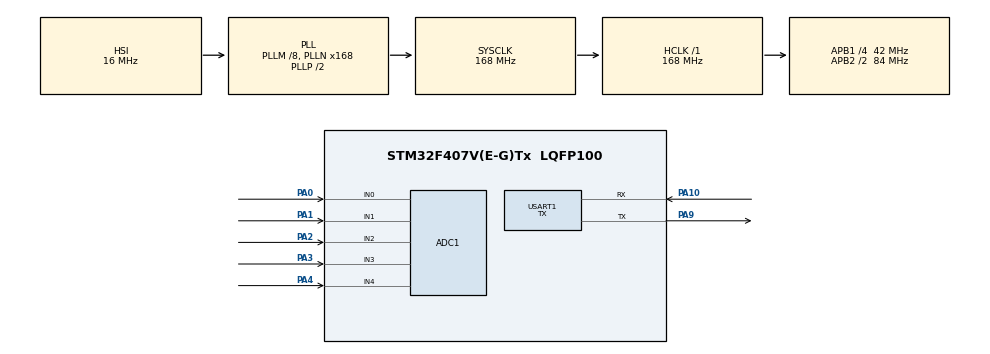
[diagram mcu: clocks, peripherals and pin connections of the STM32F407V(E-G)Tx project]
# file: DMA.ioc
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ADC1.Channel-0\#ChannelRegularConversion=ADC_CHANNEL_0
ADC1.Channel-1\#ChannelRegularConversion=ADC_CHANNEL_1
ADC1.Channel-2\#ChannelRegularConversion=ADC_CHANNEL_2
ADC1.Channel-3\#ChannelRegularConversion=ADC_CHANNEL_3
ADC1.Channel-4\#ChannelRegularConversion=ADC_CHANNEL_4
ADC1.ContinuousConvMode=ENABLE
ADC1.DMAContinuousRequests=ENABLE
ADC1.NbrOfConversion=5
ADC1.NbrOfConversionFlag=1
ADC1.Rank-0\#ChannelRegularConversion=1
ADC1.Rank-1\#ChannelRegularConversion=2
ADC1.Rank-2\#ChannelRegularConversion=3
ADC1.Rank-3\#ChannelRegularConversion=4
ADC1.Rank-4\#ChannelRegularConversion=5
ADC1.SamplingTime-0\#ChannelRegularConversion=ADC_SAMPLETIME_3CYCLES
ADC1.SamplingTime-1\#ChannelRegularConversion=ADC_SAMPLETIME_3CYCLES
ADC1.SamplingTime-2\#ChannelRegularConversion=ADC_SAMPLETIME_3CYCLES
ADC1.SamplingTime-3\#ChannelRegularConversion=ADC_SAMPLETIME_3CYCLES
ADC1.SamplingTime-4\#ChannelRegularConversion=ADC_SAMPLETIME_3CYCLES
ADC1.ScanConvMode=ENABLE
ADC1.master=1
Dma.ADC1.0.Direction=DMA_PERIPH_TO_MEMORY
Dma.ADC1.0.FIFOMode=DMA_FIFOMODE_DISABLE
Dma.ADC1.0.Instance=DMA2_Stream0
Dma.ADC1.0.MemDataAlignment=DMA_MDATAALIGN_HALFWORD
Dma.ADC1.0.MemInc=DMA_MINC_ENABLE
Dma.ADC1.0.Mode=DMA_CIRCULAR
Dma.ADC1.0.PeriphDataAlignment=DMA_PDATAALIGN_HALFWORD
Dma.ADC1.0.PeriphInc=DMA_PINC_DISABLE
Dma.ADC1.0.Priority=DMA_PRIORITY_VERY_HIGH
Dma.Request0=ADC1
Mcu.Family=STM32F4
Mcu.Name=STM32F407V(E-G)Tx
Mcu.Package=LQFP100
NVIC.DMA2_Stream0_IRQn=true\:0\:0\:false\:false\:true\:false\:true\:true
NVIC.PriorityGroup=NVIC_PRIORITYGROUP_0
NVIC.TIM2_IRQn=true\:0\:0\:false\:false\:true\:true\:true\:true
PA0-WKUP.Signal=ADCx_IN0
PA1.Signal=ADCx_IN1
PA10.Mode=Asynchronous
PA10.Signal=USART1_RX
PA2.Signal=ADCx_IN2
PA3.Signal=ADCx_IN3
PA4.Signal=ADCx_IN4
PA9.Mode=Asynchronous
PA9.Signal=USART1_TX
PH0-OSC_IN.Mode=HSE-External-Oscillator
PH0-OSC_IN.Signal=RCC_OSC_IN
PH1-OSC_OUT.Mode=HSE-External-Oscillator
PH1-OSC_OUT.Signal=RCC_OSC_OUT
ProjectManager.HeapSize=0x200
ProjectManager.StackSize=0x400
ProjectManager.TargetToolchain=STM32CubeIDE
RCC.48MHZClocksFreq_Value=48000000
RCC.AHBFreq_Value=168000000
RCC.APB1CLKDivider=RCC_HCLK_DIV4
RCC.APB1Freq_Value=42000000
RCC.APB1TimFreq_Value=84000000
RCC.APB2CLKDivider=RCC_HCLK_DIV2
RCC.APB2Freq_Value=84000000
RCC.APB2TimFreq_Value=168000000
RCC.CortexFreq_Value=168000000
RCC.HCLKFreq_Value=168000000
RCC.HSE_VALUE=8000000
RCC.HSI_VALUE=16000000
RCC.LSE_VALUE=32768
RCC.PLLM=8
RCC.PLLN=168
RCC.PLLQ=7
RCC.SYSCLKFreq_VALUE=168000000
RCC.SYSCLKSource=RCC_SYSCLKSOURCE_PLLCLK
RCC.VCOOutputFreq_Value=336000000
SH.ADCx_IN0.0=ADC1_IN0,IN0
SH.ADCx_IN1.0=ADC1_IN1,IN1
SH.ADCx_IN2.0=ADC1_IN2,IN2
SH.ADCx_IN3.0=ADC1_IN3,IN3
SH.ADCx_IN4.0=ADC1_IN4,IN4
TIM2.Period=399
TIM2.Prescaler=41999
USART1.Mode=MODE_TX
USART1.VirtualMode=VM_ASYNC
VP_TIM2_VS_ClockSourceINT.Mode=Internal
board=STM32F407G-DISC1

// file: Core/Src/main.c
/* USER CODE BEGIN Header */
/**
  ******************************************************************************
  * @file           : main.c
  * @brief          : Main program body
  ******************************************************************************
  * @attention
  *
  * Copyright (c) 2023 STMicroelectronics.
  * All rights reserved.
  *
  * This software is licensed under terms that can be found in the LICENSE file
  * in the root directory of this software component.
  * If no LICENSE file comes with this software, it is provided AS-IS.
  *
  ******************************************************************************
  */
/* USER CODE END Header */
#include "main.h"

/* USER CODE BEGIN Includes */
#include "string.h"
#include <stdio.h>

// DMA Buffer Size
#define BUFFER_SIZE 		100

/* USER CODE END Includes */

ADC_HandleTypeDef hadc1;
DMA_HandleTypeDef hdma_adc1;

TIM_HandleTypeDef htim2;

UART_HandleTypeDef huart1;

/* USER CODE BEGIN PV */

// Global variables
uint16_t adc_values[BUFFER_SIZE];

char tx_buff[50];
uint16_t buffer_index = 0;

uint16_t buffer2[BUFFER_SIZE];

uint8_t adc_flag = 0;

uint8_t timer_interrupt_flag = 0;

/* USER CODE END PV */

void SystemClock_Config(void);
 void MX_GPIO_Init(void);
 void MX_DMA_Init(void);
 void MX_ADC1_Init(void);
 void MX_TIM2_Init(void);
 void MX_USART1_UART_Init(void);

/* USER CODE BEGIN 0 */
void HAL_TIM_PeriodElapsedCallback(TIM_HandleTypeDef *htim)
{

	if (htim == &htim2)
	  {

	    timer_interrupt_flag = 1;
	  }

}

void HAL_ADC_ConvCpltCallback(ADC_HandleTypeDef *hadc)
{
  if (hadc == &hadc1) // ADC1'nin dönüşümü tamamlandı
  {

	  adc_flag = 1;

  }
}

/* USER CODE END 0 */

int main(void)
{

  /* MCU Configuration--------------------------------------------------------*/

  /* Reset of all peripherals, Initializes the Flash interface and the Systick. */
  HAL_Init();

  /* Configure the system clock */
  SystemClock_Config();

  /* Initialize all configured peripherals */
  MX_GPIO_Init();
  MX_DMA_Init();
  MX_ADC1_Init();
  MX_TIM2_Init();
  MX_USART1_UART_Init();
  /* USER CODE BEGIN 2 */

  HAL_ADC_Start_DMA(&hadc1, (uint32_t*)adc_values, 5);

  HAL_TIM_Base_Start_IT(&htim2);

  /* USER CODE END 2 */

  /* Infinite loop */
  while (1)
  {

    /* USER CODE BEGIN 3 */

	  if (timer_interrupt_flag)
	   	 {
	   	    timer_interrupt_flag = 0;

	   	    for (int i = 0; i < BUFFER_SIZE; i++)
	   	     {
	   	       uint16_t adc_value = buffer2[i];
	   	       size_t size = sprintf(tx_buff, "ADC:%u\n", adc_value);
	   	       HAL_UART_Transmit(&huart1, (uint8_t *)tx_buff, size, 100);
	   	    }
	       }

	  	 if (adc_flag)
	   	 {
	   	    adc_flag = 0;

	   	    for (int i = 0; i < BUFFER_SIZE; i++)
	   	      {
	   	          buffer2[i] = adc_values[i];
	   	      }
	       }

  /* USER CODE END 3 */
 }

}

void SystemClock_Config(void)
{
  RCC_OscInitTypeDef RCC_OscInitStruct = {0};
  RCC_ClkInitTypeDef RCC_ClkInitStruct = {0};

  /** Configure the main internal regulator output voltage
  */
  __HAL_RCC_PWR_CLK_ENABLE();
  __HAL_PWR_VOLTAGESCALING_CONFIG(PWR_REGULATOR_VOLTAGE_SCALE1);

  /** Initializes the RCC Oscillators according to the specified parameters
  * in the RCC_OscInitTypeDef structure.
  */
  RCC_OscInitStruct.OscillatorType = RCC_OSCILLATORTYPE_HSI;
  RCC_OscInitStruct.HSIState = RCC_HSI_ON;
  RCC_OscInitStruct.HSICalibrationValue = RCC_HSICALIBRATION_DEFAULT;
  RCC_OscInitStruct.PLL.PLLState = RCC_PLL_ON;
  RCC_OscInitStruct.PLL.PLLSource = RCC_PLLSOURCE_HSI;
  RCC_OscInitStruct.PLL.PLLM = 8;
  RCC_OscInitStruct.PLL.PLLN = 168;
  RCC_OscInitStruct.PLL.PLLP = RCC_PLLP_DIV2;
  RCC_OscInitStruct.PLL.PLLQ = 7;
  if (HAL_RCC_OscConfig(&RCC_OscInitStruct) != HAL_OK)
  {
    Error_Handler();
  }

  /** Initializes the CPU, AHB and APB buses clocks
  */
  RCC_ClkInitStruct.ClockType = RCC_CLOCKTYPE_HCLK|RCC_CLOCKTYPE_SYSCLK
                              |RCC_CLOCKTYPE_PCLK1|RCC_CLOCKTYPE_PCLK2;
  RCC_ClkInitStruct.SYSCLKSource = RCC_SYSCLKSOURCE_PLLCLK;
  RCC_ClkInitStruct.AHBCLKDivider = RCC_SYSCLK_DIV1;
  RCC_ClkInitStruct.APB1CLKDivider = RCC_HCLK_DIV4;
  RCC_ClkInitStruct.APB2CLKDivider = RCC_HCLK_DIV2;

  if (HAL_RCC_ClockConfig(&RCC_ClkInitStruct, FLASH_LATENCY_5) != HAL_OK)
  {
    Error_Handler();
  }
}

 void MX_ADC1_Init(void)
{

  ADC_ChannelConfTypeDef sConfig = {0};

  /** Configure the global features of the ADC (Clock, Resolution, Data Alignment and number of conversion)
  */
  hadc1.Instance = ADC1;
  hadc1.Init.ClockPrescaler = ADC_CLOCK_SYNC_PCLK_DIV4;
  hadc1.Init.Resolution = ADC_RESOLUTION_12B;
  hadc1.Init.ScanConvMode = ENABLE;
  hadc1.Init.ContinuousConvMode = ENABLE;
  hadc1.Init.DiscontinuousConvMode = DISABLE;
  hadc1.Init.ExternalTrigConvEdge = ADC_EXTERNALTRIGCONVEDGE_NONE;
  hadc1.Init.ExternalTrigConv = ADC_SOFTWARE_START;
  hadc1.Init.DataAlign = ADC_DATAALIGN_RIGHT;
  hadc1.Init.NbrOfConversion = 5;
  hadc1.Init.DMAContinuousRequests = ENABLE;
  hadc1.Init.EOCSelection = ADC_EOC_SINGLE_CONV;
  if (HAL_ADC_Init(&hadc1) != HAL_OK)
  {
    Error_Handler();
  }

  /** Configure for the selected ADC regular channel its corresponding rank in the sequencer and its sample time.
  */
  sConfig.Channel = ADC_CHANNEL_0;
  sConfig.Rank = 1;
  sConfig.SamplingTime = ADC_SAMPLETIME_3CYCLES;
  if (HAL_ADC_ConfigChannel(&hadc1, &sConfig) != HAL_OK)
  {
    Error_Handler();
  }

  /** Configure for the selected ADC regular channel its corresponding rank in the sequencer and its sample time.
  */
  sConfig.Channel = ADC_CHANNEL_1;
  sConfig.Rank = 2;
  if (HAL_ADC_ConfigChannel(&hadc1, &sConfig) != HAL_OK)
  {
    Error_Handler();
  }

  /** Configure for the selected ADC regular channel its corresponding rank in the sequencer and its sample time.
  */
  sConfig.Channel = ADC_CHANNEL_2;
  sConfig.Rank = 3;
  if (HAL_ADC_ConfigChannel(&hadc1, &sConfig) != HAL_OK)
  {
    Error_Handler();
  }

  /** Configure for the selected ADC regular channel its corresponding rank in the sequencer and its sample time.
  */
  sConfig.Channel = ADC_CHANNEL_3;
  sConfig.Rank = 4;
  if (HAL_ADC_ConfigChannel(&hadc1, &sConfig) != HAL_OK)
  {
    Error_Handler();
  }

  /** Configure for the selected ADC regular channel its corresponding rank in the sequencer and its sample time.
  */
  sConfig.Channel = ADC_CHANNEL_4;
  sConfig.Rank = 5;
  if (HAL_ADC_ConfigChannel(&hadc1, &sConfig) != HAL_OK)
  {
    Error_Handler();
  }

}

 void MX_TIM2_Init(void)
{

  TIM_ClockConfigTypeDef sClockSourceConfig = {0};
  TIM_MasterConfigTypeDef sMasterConfig = {0};

  htim2.Instance = TIM2;
  htim2.Init.Prescaler = 41999;
  htim2.Init.CounterMode = TIM_COUNTERMODE_UP;
  htim2.Init.Period = 399;
  htim2.Init.ClockDivision = TIM_CLOCKDIVISION_DIV1;
  htim2.Init.AutoReloadPreload = TIM_AUTORELOAD_PRELOAD_DISABLE;
  if (HAL_TIM_Base_Init(&htim2) != HAL_OK)
  {
    Error_Handler();
  }
  sClockSourceConfig.ClockSource = TIM_CLOCKSOURCE_INTERNAL;
  if (HAL_TIM_ConfigClockSource(&htim2, &sClockSourceConfig) != HAL_OK)
  {
    Error_Handler();
  }
  sMasterConfig.MasterOutputTrigger = TIM_TRGO_RESET;
  sMasterConfig.MasterSlaveMode = TIM_MASTERSLAVEMODE_DISABLE;
  if (HAL_TIMEx_MasterConfigSynchronization(&htim2, &sMasterConfig) != HAL_OK)
  {
    Error_Handler();
  }

}

 void MX_USART1_UART_Init(void)
{

  huart1.Instance = USART1;
  huart1.Init.BaudRate = 115200;
  huart1.Init.WordLength = UART_WORDLENGTH_8B;
  huart1.Init.StopBits = UART_STOPBITS_1;
  huart1.Init.Parity = UART_PARITY_NONE;
  huart1.Init.Mode = UART_MODE_TX;
  huart1.Init.HwFlowCtl = UART_HWCONTROL_NONE;
  huart1.Init.OverSampling = UART_OVERSAMPLING_16;
  if (HAL_UART_Init(&huart1) != HAL_OK)
  {
    Error_Handler();
  }

}

 void MX_DMA_Init(void)
{

  /* DMA controller clock enable */
  __HAL_RCC_DMA2_CLK_ENABLE();

  /* DMA interrupt init */
  /* DMA2_Stream0_IRQn interrupt configuration */
  HAL_NVIC_SetPriority(DMA2_Stream0_IRQn, 0, 0);
  HAL_NVIC_EnableIRQ(DMA2_Stream0_IRQn);

}

 void MX_GPIO_Init(void)
{

  /* GPIO Ports Clock Enable */
  __HAL_RCC_GPIOH_CLK_ENABLE();
  __HAL_RCC_GPIOA_CLK_ENABLE();

}

void Error_Handler(void)
{
  __disable_irq();
  while (1)
  {
  }
}
